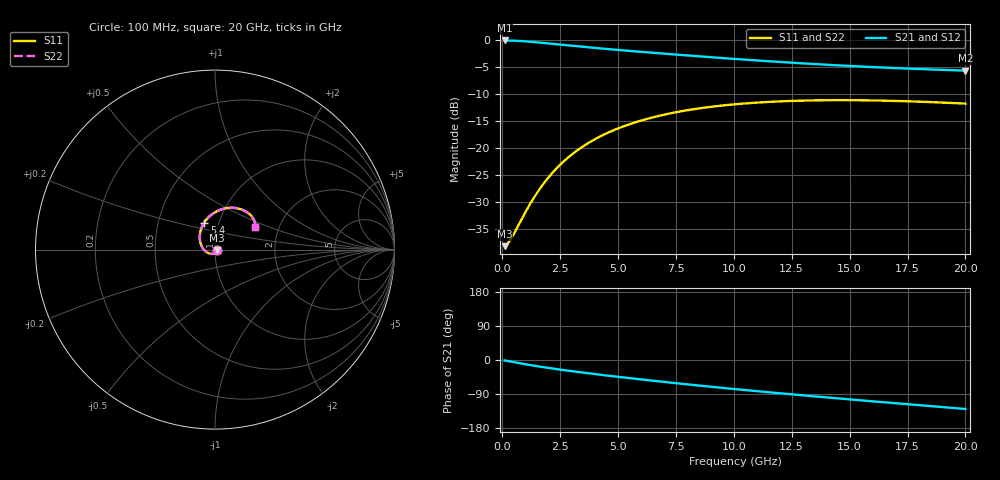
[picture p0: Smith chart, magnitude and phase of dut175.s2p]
! Created with skrf 1.9.0 (http://scikit-rf.org).
# GHz S RI R 50.0
!freq ReS11 ImS11 ReS21 ImS21 ReS12 ImS12 ReS22 ImS22
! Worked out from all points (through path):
!   200 points, 100 MHz to 20 GHz, reference 50 ohm
!   highest |S21| = -0.11 dB at 100 MHz (marker M1); lowest = -5.7 dB at 20 GHz (marker M2)
!   group delay of S21, straight-line fit = 17.1 ps
!   lowest |S11| = -38.3 dB at 100 MHz (marker M3), VSWR 1.02, Z = 51.2 - j0.319 ohm
!   |S11| at or under -10 dB: start of sweep to end of sweep
!   |S22| runs from -38.3 to -11.2 dB; largest |S21 - S12| = 1.9e-15
!   S11 on the Smith chart (normalised r, x): 100 MHz: 1.02, -0.01; 5.4 GHz: 0.85, +0.26; 20 GHz: 1.51, +0.41
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0.1  0.0118 -0.00312  0.9876 -0.0199  0.9876 -0.0199  0.0118 -0.00312
0.2  0.0111 -0.00622  0.9863 -0.0396  0.9863 -0.0396  0.0111 -0.00622
0.4  0.00816 -0.012  0.9814 -0.0786  0.9814 -0.0786  0.00816 -0.012
0.8  -0.00273 -0.0208  0.963 -0.153  0.963 -0.153  -0.00273 -0.0208
1.2  -0.0184 -0.0238  0.9355 -0.2206  0.9355 -0.2206  -0.0184 -0.0238
1.5  -0.0314 -0.0216  0.9107 -0.2661  0.9107 -0.2661  -0.0314 -0.0216
1.9  -0.0483 -0.013  0.8743 -0.3199  0.8743 -0.3199  -0.0483 -0.013
2.2  -0.0595 -0.0031  0.8455 -0.3555  0.8455 -0.3555  -0.0595 -0.0031
2.6  -0.0715 0.0136  0.8065 -0.3976  0.8065 -0.3976  -0.0715 0.0136
3  -0.0798 0.033  0.7673 -0.4344  0.7673 -0.4344  -0.0798 0.033
3.5  -0.0847 0.059  0.7187 -0.4744  0.7187 -0.4744  -0.0847 0.059
4.4  -0.0801 0.1056  0.6326 -0.533  0.6326 -0.533  -0.0801 0.1056
5.4  -0.0597 0.151  0.5391 -0.582  0.5391 -0.582  -0.0597 0.151
6.1  -0.0393 0.1768  0.4751 -0.6076  0.4751 -0.6076  -0.0393 0.1768
6.8  -0.016 0.1974  0.4127 -0.6267  0.4127 -0.6267  -0.016 0.1974
8.3  0.0379 0.2248  0.2857 -0.6486  0.2857 -0.6486  0.0379 0.2248
10.1  0.0991 0.233  0.1483 -0.6473  0.1483 -0.6473  0.0991 0.233
11.7  0.1442 0.2248  0.0413 -0.6281  0.0413 -0.6281  0.1442 0.2248
13.4  0.1804 0.2068  -0.0574 -0.5951  -0.0574 -0.5951  0.1804 0.2068
15  0.2037 0.186  -0.1379 -0.556  -0.1379 -0.556  0.2037 0.186
16.7  0.218 0.1633  -0.2121 -0.5082  -0.2121 -0.5082  0.218 0.1633
20  0.2227 0.1269  -0.3282 -0.4019  -0.3282 -0.4019  0.2227 0.1269
